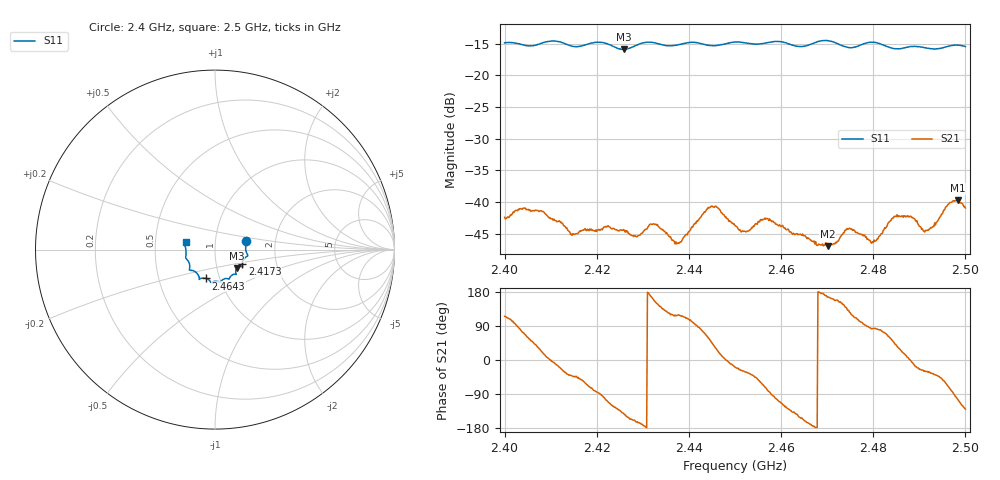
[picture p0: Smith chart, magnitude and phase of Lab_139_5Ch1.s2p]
# Hz S RI R 50
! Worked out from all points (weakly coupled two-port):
!   601 points, 2.4 GHz to 2.5 GHz, reference 50 ohm
!   highest |S21| = -39.72 dB at 2.4983 GHz (marker M1); lowest = -47.0 dB at 2.4702 GHz (marker M2)
!   lowest |S11| = -15.9 dB at 2.4258 GHz (marker M3), VSWR 1.38, Z = 62.3 - j13.3 ohm
!   |S11| at or under -10 dB: start of sweep to end of sweep
!   S12 and S22 are empty: the file has one direction only
!   S11 on the Smith chart (normalised r, x): 2.4 GHz: 1.41, +0.14; 2.4173 GHz: 1.34, -0.23; 2.4643 GHz: 0.86, -0.29; 2.5 GHz: 0.72, +0.06
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2.4e9  0.1734 0.0496  -0.00323 0.00685  0 0  0 0
2.4075e9  0.1756 -0.016  0.00729 0.0042  0 0  0 0
2.414667e9  0.1614 -0.0524  0.00405 -0.00366  0 0  0 0
2.416667e9  0.1531 -0.0746  0.00367 -0.00469  0 0  0 0
2.417333e9  0.1523 -0.0821  0.00312 -0.00526  0 0  0 0
2.425833e9  0.1219 -0.1037  -0.00471 -0.00384  0 0  0 0
2.433333e9  0.1124 -0.1368  -0.00531 0.00362  0 0  0 0
2.437833e9  0.0836 -0.1532  -0.00228 0.00414  0 0  0 0
2.445333e9  0.053 -0.1627  0.00706 0.0058  0 0  0 0
2.45e9  0.0291 -0.1808  0.00617 -0.0021  0 0  0 0
2.4525e9  0.0203 -0.1786  0.00497 -0.00311  0 0  0 0
2.457e9  -0.0134 -0.1806  0.00143 -0.00728  0 0  0 0
2.464333e9  -0.0499 -0.1609  -0.00495 -0.00245  0 0  0 0
2.466667e9  -0.0761 -0.1598  -0.00487 -0.000618  0 0  0 0
2.470167e9  -0.0876 -0.1657  -0.00435 0.00109  0 0  0 0
2.474833e9  -0.1048 -0.1278  -0.00367 0.00503  0 0  0 0
2.48e9  -0.1428 -0.1135  0.000571 0.00477  0 0  0 0
2.483333e9  -0.1406 -0.0899  0.00318 0.00612  0 0  0 0
2.488e9  -0.1605 -0.0511  0.00774 2.09e-05  0 0  0 0
2.4915e9  -0.1615 -0.0302  0.00516 -0.00302  0 0  0 0
2.498333e9  -0.1699 0.0334  -0.00247 -0.01  0 0  0 0
2.5e9  -0.1634 0.0419  -0.00573 -0.00691  0 0  0 0
